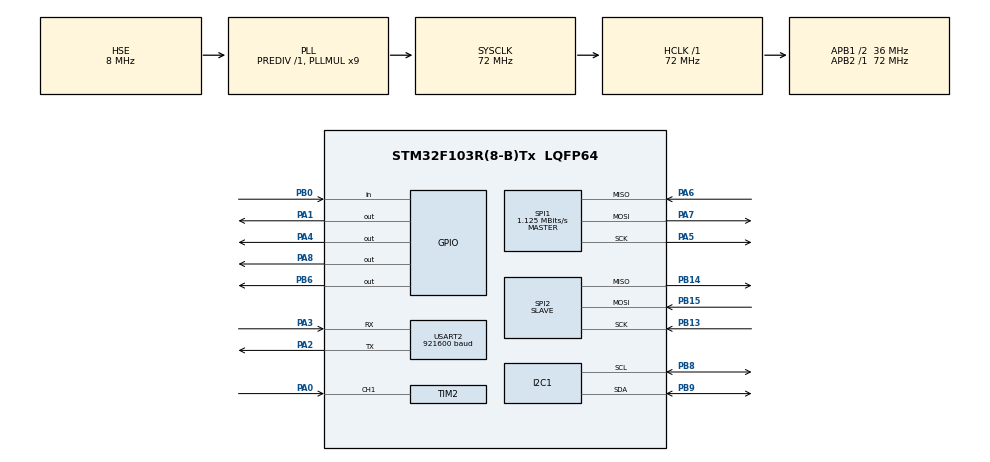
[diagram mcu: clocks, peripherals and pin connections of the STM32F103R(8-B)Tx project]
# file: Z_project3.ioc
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Mcu.Family=STM32F1
Mcu.Name=STM32F103R(8-B)Tx
Mcu.Package=LQFP64
NVIC.I2C1_ER_IRQn=true\:0\:0\:false\:false\:true\:true\:true\:true
NVIC.I2C1_EV_IRQn=true\:0\:0\:false\:false\:true\:true\:true\:true
NVIC.PriorityGroup=NVIC_PRIORITYGROUP_4
NVIC.SPI1_IRQn=true\:0\:0\:false\:false\:true\:true\:true\:true
NVIC.SPI2_IRQn=true\:0\:0\:false\:false\:true\:true\:true\:true
NVIC.TIM2_IRQn=true\:0\:0\:false\:false\:true\:true\:true\:true
NVIC.USART2_IRQn=true\:0\:0\:false\:false\:true\:true\:true\:true
PA0-WKUP.Signal=S_TIM2_CH1_ETR
PA1.Signal=GPIO_Output
PA13.Mode=Serial_Wire
PA13.Signal=SYS_JTMS-SWDIO
PA14.Mode=Serial_Wire
PA14.Signal=SYS_JTCK-SWCLK
PA2.Mode=Asynchronous
PA2.Signal=USART2_TX
PA3.Mode=Asynchronous
PA3.Signal=USART2_RX
PA4.Signal=GPIO_Output
PA5.Mode=Full_Duplex_Master
PA5.Signal=SPI1_SCK
PA6.Mode=Full_Duplex_Master
PA6.Signal=SPI1_MISO
PA7.Mode=Full_Duplex_Master
PA7.Signal=SPI1_MOSI
PA8.GPIO_PuPd=GPIO_NOPULL
PA8.Signal=GPIO_Output
PB0.GPIO_PuPd=GPIO_PULLDOWN
PB0.Signal=GPIO_Input
PB12.Signal=SPI2_NSS
PB13.Mode=Full_Duplex_Slave
PB13.Signal=SPI2_SCK
PB14.Mode=Full_Duplex_Slave
PB14.Signal=SPI2_MISO
PB15.Mode=Full_Duplex_Slave
PB15.Signal=SPI2_MOSI
PB6.Signal=GPIO_Output
PB8.Mode=I2C
PB8.Signal=I2C1_SCL
PB9.Mode=I2C
PB9.Signal=I2C1_SDA
PD0-OSC_IN.Mode=HSE-External-Clock-Source
PD0-OSC_IN.Signal=RCC_OSC_IN
PD1-OSC_OUT.Mode=HSE-External-Clock-Source
PD1-OSC_OUT.Signal=RCC_OSC_OUT
ProjectManager.HeapSize=0x200
ProjectManager.StackSize=0x400
ProjectManager.TargetToolchain=STM32CubeIDE
RCC.AHBFreq_Value=72000000
RCC.APB1CLKDivider=RCC_HCLK_DIV2
RCC.APB1Freq_Value=36000000
RCC.APB1TimFreq_Value=72000000
RCC.APB2Freq_Value=72000000
RCC.APB2TimFreq_Value=72000000
RCC.HCLKFreq_Value=72000000
RCC.PLLMUL=RCC_PLL_MUL9
RCC.PLLSourceVirtual=RCC_PLLSOURCE_HSE
RCC.SYSCLKFreq_VALUE=72000000
RCC.SYSCLKSource=RCC_SYSCLKSOURCE_PLLCLK
RCC.USBFreq_Value=72000000
SH.S_TIM2_CH1_ETR.0=TIM2_CH1,Input_Capture1_from_TI1
SPI1.BaudRatePrescaler=SPI_BAUDRATEPRESCALER_64
SPI1.CalculateBaudRate=1.125 MBits/s
SPI1.Direction=SPI_DIRECTION_2LINES
SPI1.Mode=SPI_MODE_MASTER
SPI1.VirtualType=VM_MASTER
SPI2.Direction=SPI_DIRECTION_2LINES
SPI2.Mode=SPI_MODE_SLAVE
SPI2.VirtualType=VM_SLAVE
TIM2.Channel-Input_Capture1_from_TI1=TIM_CHANNEL_1
TIM2.Prescaler=8-1
USART2.BaudRate=921600
USART2.VirtualMode=VM_ASYNC
VP_TIM2_VS_ClockSourceINT.Mode=Internal
board=custom

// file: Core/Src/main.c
/* USER CODE BEGIN Header */
/**
  ******************************************************************************
  * @file           : main.c
  * @brief          : Main program body
  ******************************************************************************
  * @attention
  *
  * Copyright (c) 2025 STMicroelectronics.
  * All rights reserved.
  *
  * This software is licensed under terms that can be found in the LICENSE file
  * in the root directory of this software component.
  * If no LICENSE file comes with this software, it is provided AS-IS.
  *
  ******************************************************************************
  */
/* USER CODE END Header */
#include "main.h"

/* USER CODE BEGIN Includes */
#include <string.h>   // strlen 사용용
#include <stdio.h>
#include <stdbool.h>
/* USER CODE END Includes */

/* USER CODE BEGIN PTD */
typedef struct {
    uint16_t reg;
    uint8_t  val;
} sensor_reg_t;

/* USER CODE END PTD */

/* USER CODE BEGIN PD */

// 초음파
#define SOUND_SPEED_CM_PER_US  0.0343f   // 343m/s ≈ 0.0343 cm/us
#define DIST_LED_TH_CM   30.0f

// ------------------ Zynq handshake pins ------------------
#define ZYNQ_ALARM_GPIO_PORT   GPIOA
#define ZYNQ_ALARM_PIN         GPIO_PIN_4   // alarm - PA4 (STM -> Zynq)

#define ZYNQ_BUSY_GPIO_PORT    GPIOB
#define ZYNQ_BUSY_PIN          GPIO_PIN_0   // busy  - PB0 (Zynq -> STM)

/* USER CODE END PD */

I2C_HandleTypeDef hi2c1;

SPI_HandleTypeDef hspi1;
SPI_HandleTypeDef hspi2;

TIM_HandleTypeDef htim2;

UART_HandleTypeDef huart2;

/* USER CODE BEGIN PV */
// ===== HC-SR04 측정 변수 =====
static volatile uint32_t ic_rise = 0;
static volatile uint32_t ic_fall = 0;
static volatile uint8_t  capture_state = 0; // 0: rising 대기, 1: falling 대기
static volatile uint32_t echo_us = 0;
static volatile uint8_t  echo_done = 0;

static volatile float distance_cm = 0.0f;

/* USER CODE END PV */

void SystemClock_Config(void);
static void MX_GPIO_Init(void);
static void MX_I2C1_Init(void);
static void MX_SPI1_Init(void);
static void MX_USART2_UART_Init(void);
static void MX_TIM2_Init(void);
static void MX_SPI2_Init(void);
/* USER CODE BEGIN PFP */
// 아두캠
static void Check_VSYNC_Signal(void);
static void I2C1_ScanBus(void);
static void Cam_Read_OV5642_ID(void);
static void Arduchip_Test(void);
static void Camera_Init_640x480_RGB565(void);
void ProcessUartCommand(void);
static void uart_print(const char *s);

// 초음파
static void DWT_Delay_Init(void);
static void delay_us(uint32_t us);
static void HCSR04_Trigger(void);
static float HCSR04_Read_cm(uint32_t timeout_ms);
/* USER CODE END PFP */

/* USER CODE BEGIN 0 */

// ArduChip 레지스터 (수정 금지)
#define ARDUCHIP_TEST1       0x00
#define ARDUCHIP_FIFO        0x04
#define ARDUCHIP_TRIG        0x41
#define FIFO_CLEAR_MASK      0x01
#define FIFO_START_MASK      0x02
#define FIFO_SIZE1           0x42
#define FIFO_SIZE2           0x43
#define FIFO_SIZE3           0x44
#define CAP_DONE_MASK        0x08
#define BURST_FIFO_READ      0x3C

#define OV5642_I2C_ADDR      (0x78)
#define CAM_CS_GPIO_Port     GPIOB
#define CAM_CS_Pin           GPIO_PIN_6
#define CAM_CS_LOW()         HAL_GPIO_WritePin(CAM_CS_GPIO_Port, CAM_CS_Pin, GPIO_PIN_RESET)
#define CAM_CS_HIGH()        HAL_GPIO_WritePin(CAM_CS_GPIO_Port, CAM_CS_Pin, GPIO_PIN_SET)

// === 통신 프로토콜 정의 ===
// (우선 확실하게 나오는 320x240으로 테스트 후, 성공하면 640으로 늘립시다)
#define FRAME_WIDTH       320u
#define FRAME_HEIGHT      240u
#define BYTES_PER_PIXEL   2u
#define FRAME_SIZE_BYTES  (FRAME_WIDTH * FRAME_HEIGHT * BYTES_PER_PIXEL)
#define FRAME_MAGIC       0x1234ABCDu
#define UART_CMD_CAPTURE  'C'

// PC 헤더
typedef struct __attribute__((packed)) {
    uint32_t magic;
    uint16_t width;
    uint16_t height;
    uint8_t  format;
    uint8_t  reserved[3];
} FrameHeader;

// 함수 선언
static void uart_print(const char *s);
static uint8_t SPI1_TxRx(uint8_t data);
static void Arduchip_WriteReg(uint8_t addr, uint8_t value);
static uint8_t Arduchip_ReadReg(uint8_t addr);
static HAL_StatusTypeDef OV5642_LoadRegTable(const sensor_reg_t *table);

// ★★★ [핵심] OV5642 초기화 레지스터 (QVGA Preview - 검증된 값) ★★★
// 이 설정은 아두캠 라이브러리에서 가져온 "가장 확실한" 설정입니다.
const sensor_reg_t OV5642_INIT_TABLE[] = {
    {0x3103,0x93}, {0x3008,0x82}, {0x3017,0x7f}, {0x3018,0xfc}, {0x3810,0xc2}, {0x3615,0xf0},
    {0x3000,0x00}, {0x3001,0x00}, {0x3002,0x5c}, {0x3003,0x00}, {0x3004,0xff}, {0x3005,0xff},
    {0x3006,0x43}, {0x3007,0x37}, {0x3011,0x08}, {0x3010,0x10}, {0x460c,0x22}, {0x3815,0x04},
    {0x370c,0xa0}, {0x3602,0xfc}, {0x3612,0xff}, {0x3634,0xc0}, {0x3613,0x00}, {0x3605,0x7c},
    {0x3621,0x09}, {0x3622,0x60}, {0x3604,0x40}, {0x3603,0xa7}, {0x3603,0x27}, {0x4000,0x21},
    {0x401d,0x22}, {0x3600,0x54}, {0x3605,0x04}, {0x3606,0x3f}, {0x3c01,0x80}, {0x5000,0x4f},
    {0x5020,0x04}, {0x5181,0x79}, {0x5182,0x00}, {0x5185,0x22}, {0x5197,0x01}, {0x5001,0xff},
    {0x5500,0x0a}, {0x5504,0x00}, {0x5505,0x7f}, {0x5080,0x08}, {0x300e,0x18}, {0x4610,0x00},
    {0x471d,0x05}, {0x4708,0x06}, {0x3808,0x02}, {0x3809,0x80}, {0x380a,0x01}, {0x380b,0xe0},
    {0x380e,0x07}, {0x380f,0xd0}, {0x501f,0x00}, {0x5000,0x4f}, {0x4300,0x30}, {0x3503,0x07},
    {0x3501,0x73}, {0x3502,0x80}, {0x350b,0x00}, {0x3503,0x07}, {0x3824,0x11}, {0x3501,0x1e},
    {0x3502,0x80}, {0x350b,0x7f}, {0x380c,0x0c}, {0x380d,0x80}, {0x380e,0x03}, {0x380f,0xe8},
    {0x3a0d,0x04}, {0x3a0e,0x03}, {0x3818,0xc1}, {0x3705,0xdb}, {0x370a,0x81}, {0x3801,0x80},
    {0x3621,0x87}, {0x3801,0x50}, {0x3803,0x08}, {0x3827,0x08}, {0x3810,0x40}, {0x3804,0x05},
    {0x3805,0x00}, {0x5682,0x05}, {0x5683,0x00}, {0x3806,0x03}, {0x3807,0xc0}, {0x5686,0x03},
    {0x5687,0xbc}, {0x3a00,0x78}, {0x3a1a,0x05}, {0x3a13,0x30}, {0x3a18,0x00}, {0x3a19,0x7c},
    {0x3a08,0x12}, {0x3a09,0xc0}, {0x3a0a,0x0f}, {0x3a0b,0xa0}, {0x350c,0x07}, {0x350d,0xd0},
    {0x3500,0x00}, {0x3501,0x00}, {0x3502,0x00}, {0x350a,0x00}, {0x350b,0x00}, {0x3503,0x00},
    {0x528a,0x02}, {0x528b,0x04}, {0x528c,0x08}, {0x528d,0x08}, {0x528e,0x08}, {0x528f,0x10},
    {0x5290,0x10}, {0x5292,0x00}, {0x5293,0x02}, {0x5294,0x00}, {0x5295,0x02}, {0x5296,0x00},
    {0x5297,0x02}, {0x5298,0x00}, {0x5299,0x02}, {0x529a,0x00}, {0x529b,0x02}, {0x529c,0x00},
    {0x529d,0x02}, {0x529e,0x00}, {0x529f,0x02}, {0x3030,0x0b}, {0x3a02,0x00}, {0x3a03,0x7d},
    {0x3a04,0x00}, {0x3a14,0x00}, {0x3a15,0x7d}, {0x3a16,0x00}, {0x3a00,0x78}, {0x3a08,0x09},
    {0x3a09,0x60}, {0x3a0a,0x07}, {0x3a0b,0xd0}, {0x3a0d,0x08}, {0x3a0e,0x06}, {0x5193,0x70},
    {0x589b,0x04}, {0x589a,0xc5}, {0x401e,0x20}, {0x4001,0x42}, {0x401c,0x04}, {0x528a,0x01},
    {0x528b,0x04}, {0x528c,0x08}, {0x528d,0x10}, {0x528e,0x20}, {0x528f,0x28}, {0x5290,0x30},
    {0x5292,0x00}, {0x5293,0x01}, {0x5294,0x00}, {0x5295,0x04}, {0x5296,0x00}, {0x5297,0x08},
    {0x5298,0x00}, {0x5299,0x10}, {0x529a,0x00}, {0x529b,0x20}, {0x529c,0x00}, {0x529d,0x28},
    {0x529e,0x00}, {0x529f,0x30}, {0x5282,0x00}, {0x5300,0x00}, {0x5301,0x20}, {0x5302,0x00},
    {0x5303,0x7c}, {0x530c,0x00}, {0x530d,0x0c}, {0x530e,0x20}, {0x530f,0x80}, {0x5310,0x20},
    {0x5311,0x80}, {0x5308,0x20}, {0x5309,0x40}, {0x5304,0x00}, {0x5305,0x30}, {0x5306,0x00},
    {0x5307,0x80}, {0x5314,0x08}, {0x5315,0x20}, {0x5319,0x30}, {0x5316,0x10}, {0x5317,0x00},
    {0x5318,0x02}, {0x5402,0x3f}, {0x5403,0x00}, {0x3406,0x00}, {0x5180,0xff}, {0x5181,0x52},
    {0x5182,0x11}, {0x5183,0x14}, {0x5184,0x25}, {0x5185,0x24}, {0x5186,0x06}, {0x5187,0x08},
    {0x5188,0x08}, {0x5189,0x7c}, {0x518a,0x60}, {0x518b,0xb2}, {0x518c,0xb2}, {0x518d,0x44},
    {0x518e,0x3d}, {0x518f,0x58}, {0x5190,0x46}, {0x5191,0xf8}, {0x5192,0x04}, {0x5193,0x70},
    {0x5194,0xf0}, {0x5195,0xf0}, {0x5196,0x03}, {0x5197,0x01}, {0x5198,0x04}, {0x5199,0x12},
    {0x519a,0x04}, {0x519b,0x00}, {0x519c,0x06}, {0x519d,0x82}, {0x519e,0x00}, {0x5025,0x80},
    {0x5583,0x40}, {0x5584,0x40}, {0x5580,0x02}, {0x5000,0xcf}, {0x3710,0x10}, {0x3632,0x51},
    {0x3702,0x10}, {0x3703,0xb2}, {0x3704,0x18}, {0x370b,0x40}, {0x370d,0x03}, {0x3631,0x01},
    {0x3632,0x52}, {0x3606,0x24}, {0x3620,0x96}, {0x5785,0x07}, {0x3a13,0x30}, {0x3600,0x52},
    {0x3604,0x48}, {0x3606,0x1b}, {0x370d,0x0b}, {0x370f,0xc0}, {0x3709,0x01}, {0x3823,0x00},
    {0x5007,0x00}, {0x5009,0x00}, {0x5011,0x00}, {0x5013,0x00}, {0x519e,0x00}, {0x5086,0x00},
    {0x5087,0x00}, {0x5088,0x00}, {0x5089,0x00}, {0x302b,0x00}, {0x3808,0x01}, {0x3809,0x40},
    {0x380a,0x00}, {0x380b,0xf0}, {0x3a00,0x78}, {0x5001,0xFF}, {0x5583,0x50}, {0x5584,0x50},
    {0x5580,0x02}, {0x3c01,0x80}, {0x3c00,0x04}, {0xFFFF, 0xFF}
};

// ================= DWT us delay =================
static void DWT_Delay_Init(void)
{
    // Cortex-M3 (STM32F1)는 DWT 사용 가능
    CoreDebug->DEMCR |= CoreDebug_DEMCR_TRCENA_Msk; // Trace enable
    DWT->CYCCNT = 0;
    DWT->CTRL |= DWT_CTRL_CYCCNTENA_Msk;            // Cycle counter enable
}

static void delay_us(uint32_t us)
{
    uint32_t cycles = (HAL_RCC_GetHCLKFreq() / 1000000U) * us;
    uint32_t start = DWT->CYCCNT;
    while ((DWT->CYCCNT - start) < cycles) {}
}

// ================= HC-SR04 Trigger =================
static void HCSR04_Trigger(void)
{
    // PA1 = TRIG
    HAL_GPIO_WritePin(GPIOA, GPIO_PIN_1, GPIO_PIN_RESET);
    delay_us(2);

    HAL_GPIO_WritePin(GPIOA, GPIO_PIN_1, GPIO_PIN_SET);
    delay_us(10);  // 10us pulse
    HAL_GPIO_WritePin(GPIOA, GPIO_PIN_1, GPIO_PIN_RESET);
}

// ================= HC-SR04 Read distance (cm) =================
// timeout_ms 안에 echo_done 안되면 -1 반환
static float HCSR04_Read_cm(uint32_t timeout_ms)
{
    echo_done = 0;
    capture_state = 0;
    echo_us = 0;

    // Rising edge부터 캡처하도록 세팅
    __HAL_TIM_SET_COUNTER(&htim2, 0);
    __HAL_TIM_SET_CAPTUREPOLARITY(&htim2, TIM_CHANNEL_1, TIM_INPUTCHANNELPOLARITY_RISING);

    // 인터럽트 캡처 시작
    HAL_TIM_IC_Start_IT(&htim2, TIM_CHANNEL_1);

    // Trigger
    HCSR04_Trigger();

    // 대기 (blocking)
    uint32_t t0 = HAL_GetTick();
    while (!echo_done)
    {
        if ((HAL_GetTick() - t0) > timeout_ms)
        {
            HAL_TIM_IC_Stop_IT(&htim2, TIM_CHANNEL_1);
            return -1.0f; // timeout
        }
    }

    // echo_us -> distance(cm)
    float cm = (echo_us * SOUND_SPEED_CM_PER_US) / 2.0f;
    return cm;
}

// ================= TIM Input Capture Callback =================
void HAL_TIM_IC_CaptureCallback(TIM_HandleTypeDef *htim)
{
    if (htim->Instance == TIM2 && htim->Channel == HAL_TIM_ACTIVE_CHANNEL_1)
    {
        if (capture_state == 0)
        {
            // Rising edge time
            ic_rise = HAL_TIM_ReadCapturedValue(htim, TIM_CHANNEL_1);
            capture_state = 1;

            // 다음은 Falling edge 캡처
            __HAL_TIM_SET_CAPTUREPOLARITY(htim, TIM_CHANNEL_1, TIM_INPUTCHANNELPOLARITY_FALLING);
        }
        else
        {
            // Falling edge time
            ic_fall = HAL_TIM_ReadCapturedValue(htim, TIM_CHANNEL_1);

            // 1MHz timer 기준 -> tick == us
            if (ic_fall >= ic_rise) echo_us = (ic_fall - ic_rise);
            else                    echo_us = ((htim->Init.Period + 1U) - ic_rise) + ic_fall;

            // 끝
            echo_done = 1;
            capture_state = 0;

            // 다시 rising으로 복귀
            __HAL_TIM_SET_CAPTUREPOLARITY(htim, TIM_CHANNEL_1, TIM_INPUTCHANNELPOLARITY_RISING);

            // 캡처 종료(필요시 계속 켜도 되지만, 여기서는 측정마다 켰다 꺼서 안정적)
            HAL_TIM_IC_Stop_IT(htim, TIM_CHANNEL_1);
        }
    }
}

// ================= SPI2 -> ZYNQ Streaming =================
#define SPI2_CMD_START   0xC1  // Zynq가 MOSI로 이 바이트 보내면 STM이 캡처+스트림 준비
#define SPI2_STATUS_OK   0x5A
#define SPI2_STATUS_BUSY 0xBC

typedef enum {
  S2_IDLE = 0,
  S2_SEND_STATUS,
  S2_SEND_HDR,
  S2_SEND_LEN,
  S2_SEND_IMG,
  S2_DONE
} s2_state_t;

static volatile s2_state_t s2_state = S2_IDLE;

// SPI2 1바이트 송수신용
static uint8_t s2_tx = 0xFF;
static uint8_t s2_rx = 0x00;

// 이미지 스트리밍용
static uint32_t s2_img_len = 0;
static uint32_t s2_remaining = 0;

// 헤더/길이 바이트 스트림
static FrameHeader s2_hdr;
static uint8_t s2_len_bytes[4];
static uint32_t s2_hdr_idx = 0;
static uint32_t s2_len_idx = 0;

// FIFO에서 2KB씩 읽어와서 SPI2로 내보내는 버퍼
static uint8_t s2_chunk[2048];
static uint32_t s2_chunk_idx = 0;
static uint32_t s2_chunk_valid = 0;

static void SPI2_SlaveKick_1byte(void);
static void SPI2_PrepareNewFrame(void);
static void SPI2_FillNextChunk(void);

// SPI2 “1바이트 트리거” 시작
static void SPI2_SlaveKick_1byte(void)
{
  // 1바이트씩 계속 IT로 돌리면(느리지만) 구현이 제일 확실함
  HAL_SPI_TransmitReceive_IT(&hspi2, &s2_tx, &s2_rx, 1);
}

// Arducam FIFO에서 다음 chunk 채우기 (BURST_FIFO_READ 상태 유지 필요)
static void SPI2_FillNextChunk(void)
{
  if (s2_remaining == 0) {
    s2_chunk_valid = 0;
    return;
  }

  uint32_t to_read = (s2_remaining > sizeof(s2_chunk)) ? sizeof(s2_chunk) : s2_remaining;
  for (uint32_t i=0; i<to_read; i++) {
    s2_chunk[i] = SPI1_TxRx(0x00); // SPI1로 FIFO 1바이트씩 읽기
  }
  s2_chunk_valid = to_read;
  s2_chunk_idx = 0;
}

// 새 프레임 캡처 + FIFO burst-read 준비 + 헤더/길이 준비
static void SPI2_PrepareNewFrame(void)
{
  // 1) 캡처 시작
  Arduchip_WriteReg(ARDUCHIP_FIFO, FIFO_CLEAR_MASK);
  Arduchip_WriteReg(ARDUCHIP_FIFO, FIFO_START_MASK);

  uint32_t t0 = HAL_GetTick();
  while (!(Arduchip_ReadReg(ARDUCHIP_TRIG) & CAP_DONE_MASK)) {
    if (HAL_GetTick() - t0 > 2000) {
      // 실패 시 IDLE로 복귀
      s2_state = S2_IDLE;
      return;
    }
  }

  // 2) 길이 읽기
  uint32_t len1 = Arduchip_ReadReg(FIFO_SIZE1);
  uint32_t len2 = Arduchip_ReadReg(FIFO_SIZE2);
  uint32_t len3 = Arduchip_ReadReg(FIFO_SIZE3) & 0x7f;
  uint32_t length = ((len3 << 16) | (len2 << 8) | len1) & 0x07fffff;
  if (length == 0) {
    s2_state = S2_IDLE;
    return;
  }

  s2_img_len = length;
  s2_remaining = length;

  // 3) 헤더 준비(PC UART용 헤더와 동일 포맷 사용)
  s2_hdr.magic  = FRAME_MAGIC;
  s2_hdr.width  = FRAME_WIDTH;
  s2_hdr.height = FRAME_HEIGHT;
  s2_hdr.format = 2; // RGB565
  s2_hdr.reserved[0]=0; s2_hdr.reserved[1]=0; s2_hdr.reserved[2]=0;
  s2_hdr_idx = 0;

  // 4) 길이 4바이트(LSB first)
  s2_len_bytes[0] = (uint8_t)(s2_img_len & 0xFF);
  s2_len_bytes[1] = (uint8_t)((s2_img_len >> 8) & 0xFF);
  s2_len_bytes[2] = (uint8_t)((s2_img_len >> 16) & 0xFF);
  s2_len_bytes[3] = (uint8_t)((s2_img_len >> 24) & 0xFF);
  s2_len_idx = 0;

  // 5) FIFO burst-read 모드로 진입 (이 상태에서 SPI1_TxRx(0x00)로 데이터가 쭉 나옴)
  CAM_CS_LOW();
  SPI1_TxRx(BURST_FIFO_READ);

  // 6) 첫 chunk 채움
  SPI2_FillNextChunk();

  // 7) 상태 전환: STATUS -> HDR -> LEN -> IMG
  s2_state = S2_SEND_STATUS;
}

static inline bool Zynq_IsBusy(void)
{
    return (HAL_GPIO_ReadPin(ZYNQ_BUSY_GPIO_PORT, ZYNQ_BUSY_PIN) == GPIO_PIN_SET);
}

// 알람을 "펄스"로 보낼지, "레벨"로 보낼지는 Zynq 쪽 인터럽트 방식에 따라 달라짐.
// 보통 인터럽트는 엣지 트리거가 편해서 펄스로 추천.
static inline void Zynq_AlarmHigh(void)
{
    HAL_GPIO_WritePin(ZYNQ_ALARM_GPIO_PORT, ZYNQ_ALARM_PIN, GPIO_PIN_SET);
}

static inline void Zynq_AlarmLow(void)
{
    HAL_GPIO_WritePin(ZYNQ_ALARM_GPIO_PORT, ZYNQ_ALARM_PIN, GPIO_PIN_RESET);
}

// busy=0일 때만 알람 펄스 발생(예: 50us)
// 반환값: true=보냄, false=busy라서 안보냄
bool Zynq_SendAlarmPulse_IfIdle(uint32_t pulse_us)
{
    if (Zynq_IsBusy()) {
        return false;  // 연산중이면 안 보냄
    }

    // 짧게 High 펄스
    Zynq_AlarmHigh();

    // F103에서 microsecond delay는 DWT 쓰거나 타이머 쓰는 게 정석인데,
    // 간단히는 아래처럼 짧은 루프(대충)도 가능.
    // 정확한 us가 필요하면 TIM 기반 delay로 바꾸자.
    for (volatile uint32_t i = 0; i < (pulse_us * 10); i++) {
        __NOP();
    }

    Zynq_AlarmLow();
    return true;
}
/* USER CODE END 0 */

int main(void)
{

  /* MCU Configuration--------------------------------------------------------*/

  /* Reset of all peripherals, Initializes the Flash interface and the Systick. */
  HAL_Init();

  /* Configure the system clock */
  SystemClock_Config();

  /* Initialize all configured peripherals */
  MX_GPIO_Init();
  MX_I2C1_Init();
  MX_SPI1_Init();
  MX_USART2_UART_Init();
  MX_TIM2_Init();
  MX_SPI2_Init();
  /* USER CODE BEGIN 2 */

  //============== 카메라 =====================
  CAM_CS_HIGH();
  HAL_UART_Transmit(&huart2, (uint8_t*)"UART ALIVE CHECK\r\n", 18, 100);
  // 1. 센서 ID 확인 및 테스트
  I2C1_ScanBus();
  Cam_Read_OV5642_ID();
  Arduchip_Test();

  // 2. 카메라 설정 (기초설정 + 640x480 + RGB565)
  // (USER CODE BEGIN 4에 정의된 함수 호출)
  Camera_Init_640x480_RGB565();
  Check_VSYNC_Signal();
  uart_print("Ready to capture. Waiting for 'C' from PC...\r\n");

  // 초음파
  DWT_Delay_Init();

  /* USER CODE END 2 */

  /* Infinite loop */
  /* USER CODE BEGIN WHILE */
  while (1)
  {

    float cm = HCSR04_Read_cm(60);

    if (cm < 100)
    {
       HAL_GPIO_WritePin(GPIOA, GPIO_PIN_8, GPIO_PIN_SET);   // ON
       Zynq_SendAlarmPulse_IfIdle(50); // 50us
    }
    else
    {
       HAL_GPIO_WritePin(GPIOA, GPIO_PIN_8, GPIO_PIN_RESET); // OFF
    }

    ProcessUartCommand();
    HAL_Delay(200);

    /* USER CODE END WHILE */

    /* USER CODE BEGIN 3 */
  }
  // PC에서 명령이 오면 처리 (버튼 없이 자동)

  /* USER CODE END 3 */
}

void SystemClock_Config(void)
{
  RCC_OscInitTypeDef RCC_OscInitStruct = {0};
  RCC_ClkInitTypeDef RCC_ClkInitStruct = {0};

  /** Initializes the RCC Oscillators according to the specified parameters
  * in the RCC_OscInitTypeDef structure.
  */
  RCC_OscInitStruct.OscillatorType = RCC_OSCILLATORTYPE_HSE;
  RCC_OscInitStruct.HSEState = RCC_HSE_BYPASS;
  RCC_OscInitStruct.HSEPredivValue = RCC_HSE_PREDIV_DIV1;
  RCC_OscInitStruct.HSIState = RCC_HSI_ON;
  RCC_OscInitStruct.PLL.PLLState = RCC_PLL_ON;
  RCC_OscInitStruct.PLL.PLLSource = RCC_PLLSOURCE_HSE;
  RCC_OscInitStruct.PLL.PLLMUL = RCC_PLL_MUL9;
  if (HAL_RCC_OscConfig(&RCC_OscInitStruct) != HAL_OK)
  {
    Error_Handler();
  }

  /** Initializes the CPU, AHB and APB buses clocks
  */
  RCC_ClkInitStruct.ClockType = RCC_CLOCKTYPE_HCLK|RCC_CLOCKTYPE_SYSCLK
                              |RCC_CLOCKTYPE_PCLK1|RCC_CLOCKTYPE_PCLK2;
  RCC_ClkInitStruct.SYSCLKSource = RCC_SYSCLKSOURCE_PLLCLK;
  RCC_ClkInitStruct.AHBCLKDivider = RCC_SYSCLK_DIV1;
  RCC_ClkInitStruct.APB1CLKDivider = RCC_HCLK_DIV2;
  RCC_ClkInitStruct.APB2CLKDivider = RCC_HCLK_DIV1;

  if (HAL_RCC_ClockConfig(&RCC_ClkInitStruct, FLASH_LATENCY_2) != HAL_OK)
  {
    Error_Handler();
  }
}

static void MX_I2C1_Init(void)
{

  hi2c1.Instance = I2C1;
  hi2c1.Init.ClockSpeed = 100000;
  hi2c1.Init.DutyCycle = I2C_DUTYCYCLE_2;
  hi2c1.Init.OwnAddress1 = 0;
  hi2c1.Init.AddressingMode = I2C_ADDRESSINGMODE_7BIT;
  hi2c1.Init.DualAddressMode = I2C_DUALADDRESS_DISABLE;
  hi2c1.Init.OwnAddress2 = 0;
  hi2c1.Init.GeneralCallMode = I2C_GENERALCALL_DISABLE;
  hi2c1.Init.NoStretchMode = I2C_NOSTRETCH_DISABLE;
  if (HAL_I2C_Init(&hi2c1) != HAL_OK)
  {
    Error_Handler();
  }

}

static void MX_SPI1_Init(void)
{

  /* SPI1 parameter configuration*/
  hspi1.Instance = SPI1;
  hspi1.Init.Mode = SPI_MODE_MASTER;
  hspi1.Init.Direction = SPI_DIRECTION_2LINES;
  hspi1.Init.DataSize = SPI_DATASIZE_8BIT;
  hspi1.Init.CLKPolarity = SPI_POLARITY_LOW;
  hspi1.Init.CLKPhase = SPI_PHASE_1EDGE;
  hspi1.Init.NSS = SPI_NSS_SOFT;
  hspi1.Init.BaudRatePrescaler = SPI_BAUDRATEPRESCALER_64;
  hspi1.Init.FirstBit = SPI_FIRSTBIT_MSB;
  hspi1.Init.TIMode = SPI_TIMODE_DISABLE;
  hspi1.Init.CRCCalculation = SPI_CRCCALCULATION_DISABLE;
  hspi1.Init.CRCPolynomial = 10;
  if (HAL_SPI_Init(&hspi1) != HAL_OK)
  {
    Error_Handler();
  }

}

static void MX_SPI2_Init(void)
{

  /* SPI2 parameter configuration*/
  hspi2.Instance = SPI2;
  hspi2.Init.Mode = SPI_MODE_SLAVE;
  hspi2.Init.Direction = SPI_DIRECTION_2LINES;
  hspi2.Init.DataSize = SPI_DATASIZE_8BIT;
  hspi2.Init.CLKPolarity = SPI_POLARITY_LOW;
  hspi2.Init.CLKPhase = SPI_PHASE_1EDGE;
  hspi2.Init.NSS = SPI_NSS_HARD_INPUT;
  hspi2.Init.FirstBit = SPI_FIRSTBIT_MSB;
  hspi2.Init.TIMode = SPI_TIMODE_DISABLE;
  hspi2.Init.CRCCalculation = SPI_CRCCALCULATION_DISABLE;
  hspi2.Init.CRCPolynomial = 10;
  if (HAL_SPI_Init(&hspi2) != HAL_OK)
  {
    Error_Handler();
  }

}

static void MX_TIM2_Init(void)
{

  TIM_ClockConfigTypeDef sClockSourceConfig = {0};
  TIM_MasterConfigTypeDef sMasterConfig = {0};
  TIM_IC_InitTypeDef sConfigIC = {0};

  htim2.Instance = TIM2;
  htim2.Init.Prescaler = 8-1;
  htim2.Init.CounterMode = TIM_COUNTERMODE_UP;
  htim2.Init.Period = 65535;
  htim2.Init.ClockDivision = TIM_CLOCKDIVISION_DIV1;
  htim2.Init.AutoReloadPreload = TIM_AUTORELOAD_PRELOAD_DISABLE;
  if (HAL_TIM_Base_Init(&htim2) != HAL_OK)
  {
    Error_Handler();
  }
  sClockSourceConfig.ClockSource = TIM_CLOCKSOURCE_INTERNAL;
  if (HAL_TIM_ConfigClockSource(&htim2, &sClockSourceConfig) != HAL_OK)
  {
    Error_Handler();
  }
  if (HAL_TIM_IC_Init(&htim2) != HAL_OK)
  {
    Error_Handler();
  }
  sMasterConfig.MasterOutputTrigger = TIM_TRGO_RESET;
  sMasterConfig.MasterSlaveMode = TIM_MASTERSLAVEMODE_DISABLE;
  if (HAL_TIMEx_MasterConfigSynchronization(&htim2, &sMasterConfig) != HAL_OK)
  {
    Error_Handler();
  }
  sConfigIC.ICPolarity = TIM_INPUTCHANNELPOLARITY_RISING;
  sConfigIC.ICSelection = TIM_ICSELECTION_DIRECTTI;
  sConfigIC.ICPrescaler = TIM_ICPSC_DIV1;
  sConfigIC.ICFilter = 0;
  if (HAL_TIM_IC_ConfigChannel(&htim2, &sConfigIC, TIM_CHANNEL_1) != HAL_OK)
  {
    Error_Handler();
  }

}

static void MX_USART2_UART_Init(void)
{

  huart2.Instance = USART2;
  huart2.Init.BaudRate = 921600;
  huart2.Init.WordLength = UART_WORDLENGTH_8B;
  huart2.Init.StopBits = UART_STOPBITS_1;
  huart2.Init.Parity = UART_PARITY_NONE;
  huart2.Init.Mode = UART_MODE_TX_RX;
  huart2.Init.HwFlowCtl = UART_HWCONTROL_NONE;
  huart2.Init.OverSampling = UART_OVERSAMPLING_16;
  if (HAL_UART_Init(&huart2) != HAL_OK)
  {
    Error_Handler();
  }

}

static void MX_GPIO_Init(void)
{
  GPIO_InitTypeDef GPIO_InitStruct = {0};

  /* GPIO Ports Clock Enable */
  __HAL_RCC_GPIOD_CLK_ENABLE();
  __HAL_RCC_GPIOA_CLK_ENABLE();
  __HAL_RCC_GPIOB_CLK_ENABLE();

  /*Configure GPIO pin Output Level */
  HAL_GPIO_WritePin(GPIOA, GPIO_PIN_1|GPIO_PIN_4|GPIO_PIN_8, GPIO_PIN_RESET);

  /*Configure GPIO pin Output Level */
  HAL_GPIO_WritePin(GPIOB, GPIO_PIN_6, GPIO_PIN_RESET);

  /*Configure GPIO pins : PA1 PA4 PA8 */
  GPIO_InitStruct.Pin = GPIO_PIN_1|GPIO_PIN_4|GPIO_PIN_8;
  GPIO_InitStruct.Mode = GPIO_MODE_OUTPUT_PP;
  GPIO_InitStruct.Pull = GPIO_NOPULL;
  GPIO_InitStruct.Speed = GPIO_SPEED_FREQ_LOW;
  HAL_GPIO_Init(GPIOA, &GPIO_InitStruct);

  /*Configure GPIO pin : PB0 */
  GPIO_InitStruct.Pin = GPIO_PIN_0;
  GPIO_InitStruct.Mode = GPIO_MODE_INPUT;
  GPIO_InitStruct.Pull = GPIO_PULLDOWN;
  HAL_GPIO_Init(GPIOB, &GPIO_InitStruct);

  /*Configure GPIO pin : PB6 */
  GPIO_InitStruct.Pin = GPIO_PIN_6;
  GPIO_InitStruct.Mode = GPIO_MODE_OUTPUT_PP;
  GPIO_InitStruct.Pull = GPIO_NOPULL;
  GPIO_InitStruct.Speed = GPIO_SPEED_FREQ_LOW;
  HAL_GPIO_Init(GPIOB, &GPIO_InitStruct);

}

/* USER CODE BEGIN 4 */
// ★ VSYNC 신호 진단 함수 (심장 박동 체크)
static void Check_VSYNC_Signal(void)
{
    uart_print("\r\n[DIAGNOSTIC] Checking VSYNC Signal (1 sec)...\r\n");

    uint32_t high_cnt = 0;
    uint32_t low_cnt = 0;
    uint32_t start = HAL_GetTick();

    // 1초 동안 VSYNC 상태를 1000번 정도 읽어봅니다.
    while (HAL_GetTick() - start < 1000)
    {
        // ARDUCHIP_TRIG(0x41) 레지스터의 0번 비트가 VSYNC 신호입니다.
        uint8_t status = Arduchip_ReadReg(ARDUCHIP_TRIG);
        if (status & 0x01) high_cnt++;
        else low_cnt++;

        // 너무 빠르지 않게 약간 딜레이
        for(volatile int i=0; i<1000; i++);
    }

    char buf[64];
    snprintf(buf, sizeof(buf), " -> High: %lu, Low: %lu\r\n", high_cnt, low_cnt);
    uart_print(buf);

    if (high_cnt > 0 && low_cnt > 0) {
        uart_print(" -> [RESULT] VSYNC Toggling! SENSOR IS ALIVE.\r\n");
    } else {
        uart_print(" -> [RESULT] VSYNC Dead. Sensor is NOT outputting frames.\r\n");
    }
    uart_print("------------------------------------------\r\n");
}

static void uart_print(const char *s)
{
    HAL_UART_Transmit(&huart2, (uint8_t*)s, strlen(s), HAL_MAX_DELAY);
}

// I2C 레지스터 테이블 로드 함수
static HAL_StatusTypeDef OV5642_LoadRegTable(const sensor_reg_t *table)
{
    HAL_StatusTypeDef ret;
    int i = 0;

    while (1)
    {
        uint16_t reg = table[i].reg;
        uint8_t  val = table[i].val;

        // 종료 마커: {0xFFFF, 0xFF}
        if (reg == 0xFFFF && val == 0xFF)
            break;

        ret = HAL_I2C_Mem_Write(&hi2c1,
                                OV5642_I2C_ADDR,
                                reg,
                                I2C_MEMADD_SIZE_16BIT,
                                &val,
                                1,
                                100);
        if (ret != HAL_OK)
        {
            char buf[96];
            snprintf(buf, sizeof(buf),
                     "OV5642_LoadRegTable: write 0x%04X=0x%02X failed, err=0x%08lX\r\n",
                     reg, val, HAL_I2C_GetError(&hi2c1));
            uart_print(buf);
            return ret;
        }
        // 안정성을 위해 센서 설정 시 약간의 딜레이
        HAL_Delay(1);
        i++;
    }
    return HAL_OK;
}

// I2C 레지스터 읽기
static HAL_StatusTypeDef OV5642_ReadReg(uint16_t reg, uint8_t *value)
{
  return HAL_I2C_Mem_Read(
      &hi2c1,
      OV5642_I2C_ADDR,
      reg,
      I2C_MEMADD_SIZE_16BIT,
      value,
      1,
      100
  );
}

// 센서 ID 확인
static void Cam_Read_OV5642_ID(void)
{
    uint8_t id_high = 0, id_low = 0;

    // I2C ACK 테스트
    if (HAL_I2C_IsDeviceReady(&hi2c1, OV5642_I2C_ADDR, 3, 100) != HAL_OK) {
        uart_print("I2C Device NOT Ready!\r\n");
        return;
    }

    OV5642_ReadReg(0x300A, &id_high);
    OV5642_ReadReg(0x300B, &id_low);

    char buf[64];
    snprintf(buf, sizeof(buf), "OV5642 ID = 0x%02X 0x%02X (expect 0x56 0x42)\r\n", id_high, id_low);
    uart_print(buf);
}

// I2C 스캔
static void I2C1_ScanBus(void)
{
    HAL_StatusTypeDef ret;
    char buf[64];
    uart_print("I2C1 scan start\r\n");
    for (uint8_t addr = 1; addr < 127; addr++) {
        ret = HAL_I2C_IsDeviceReady(&hi2c1, addr << 1, 2, 10);
        if (ret == HAL_OK) {
            snprintf(buf, sizeof(buf), "  - Found 0x%02X\r\n", addr << 1);
            uart_print(buf);
        }
    }
    uart_print("I2C1 scan done\r\n");
}

// SPI TxRx
static uint8_t SPI1_TxRx(uint8_t data)
{
    uint8_t rx = 0;
    HAL_SPI_TransmitReceive(&hspi1, &data, &rx, 1, HAL_MAX_DELAY);
    return rx;
}

// ArduChip 레지스터 쓰기 (수정됨: 안정성 강화)
static void Arduchip_WriteReg(uint8_t addr, uint8_t value)
{
    CAM_CS_LOW();
    HAL_Delay(1); // ★ [핵심] 칩이 준비될 시간을 줍니다 (1ms)
    SPI1_TxRx(addr | 0x80);  // 쓰기 명령 전송

    SPI1_TxRx(value);        // 데이터 전송
    CAM_CS_HIGH();

    HAL_Delay(1); // 기존 안정성 딜레이 유지
}
// ArduChip 레지스터 읽기
static uint8_t Arduchip_ReadReg(uint8_t addr)
{
    uint8_t val;
    CAM_CS_LOW();
    HAL_Delay(1); // ★ [핵심] 읽기 전에도 준비 시간 부여
    SPI1_TxRx(addr & 0x7F);
    val = SPI1_TxRx(0x00);
    CAM_CS_HIGH();
    return val;
}

// ArduChip 테스트
/* USER CODE BEGIN 4 내의 Arduchip_Test 함수 교체 */

static void Arduchip_Test(void)
{
    char buf[64];
    uart_print("\r\n================================\r\n");
    uart_print("   SPI DIAGNOSTIC TEST START    \r\n");
    uart_print("================================\r\n");

    // 1. 단순 읽기/쓰기 테스트 (비트 이동 확인용)
    // 0x01, 0x02, 0x04 ... 순서대로 보내봅니다.
    uint8_t test_patterns[] = {0x01, 0x02, 0x04, 0x08, 0x10, 0x20, 0x40, 0x80};

    for (int i = 0; i < 8; i++) {
        uint8_t target = test_patterns[i];

        Arduchip_WriteReg(ARDUCHIP_TEST1, target);
        uint8_t read_back = Arduchip_ReadReg(ARDUCHIP_TEST1);

        snprintf(buf, sizeof(buf), "Write: 0x%02X -> Read: 0x%02X ", target, read_back);
        uart_print(buf);

        if (read_back == target) {
            uart_print("[OK]\r\n");
        } else if (read_back == (target << 1)) {
            uart_print("[FAIL] Left Shift (Try 2EDGE)\r\n");
        } else if (read_back == (target >> 1)) {
            uart_print("[FAIL] Right Shift (Try 1EDGE)\r\n");
        } else if (read_back == 0x00 || read_back == 0xFF) {
            uart_print("[FAIL] Stuck (Check Wiring/Power)\r\n");
        } else {
            uart_print("[FAIL] Unknown Error\r\n");
        }
        HAL_Delay(10);
    }

    uart_print("--------------------------------\r\n");

    // 2. 연속 쓰기 테스트 (명령 씹힘 확인용)
    // 0x55를 쓰고 바로 0xAA를 썼을 때 잘 바뀌는지 봅니다.
    Arduchip_WriteReg(ARDUCHIP_TEST1, 0x55);
    uint8_t val1 = Arduchip_ReadReg(ARDUCHIP_TEST1);

    Arduchip_WriteReg(ARDUCHIP_TEST1, 0xAA);
    uint8_t val2 = Arduchip_ReadReg(ARDUCHIP_TEST1);

    snprintf(buf, sizeof(buf), "0x55->0x%02X, 0xAA->0x%02X ", val1, val2);
    uart_print(buf);

    if (val1 == 0x55 && val2 == 0xAA) {
        uart_print("-> [PERFECT]\r\n");
    } else if (val1 == 0x55 && val2 == 0x55) {
        uart_print("-> [FAIL] Write Ignored (Slow down SPI)\r\n");
    } else {
        uart_print("-> [FAIL] Communication Broken\r\n");
    }

    uart_print("================================\r\n");
}

// === [중요] 초기화 함수 (엔진 시동 + 해상도 + 포맷) ===
static void Camera_Init_640x480_RGB565(void)
{
    uart_print("Init Camera 320x240 RGB565...\r\n");

    // 1. I2C로 센서 소프트웨어 리셋
    uint8_t val = 0x80;
    HAL_I2C_Mem_Write(&hi2c1, OV5642_I2C_ADDR, 0x3008, I2C_MEMADD_SIZE_16BIT, &val, 1, 100);
    HAL_Delay(100);

    // 2. [추가됨] ArduChip(CPLD) 리셋 - 이게 없어서 FIFO가 안 찼던 겁니다!
    Arduchip_WriteReg(0x07, 0x80); // 리셋 시작
    HAL_Delay(100);
    Arduchip_WriteReg(0x07, 0x00); // 리셋 종료
    HAL_Delay(100);

    // 3. [추가됨] VSYNC 레벨 설정 (Active Low/High 맞추기)
    // ARDUCHIP_TIM(0x03) 레지스터의 1번 비트(0x02)를 1로 세팅
    Arduchip_WriteReg(0x03, 0x02);
    HAL_Delay(100);

    // 4. OV5642 센서 설정 로드 (QVGA)
    OV5642_LoadRegTable(OV5642_INIT_TABLE);

    // 5. FIFO 초기화
    Arduchip_WriteReg(ARDUCHIP_FIFO, FIFO_CLEAR_MASK);

    uart_print("Init Done.\r\n");
}

// === 캡처 및 전송 함수 (수정됨) ===
void SendOneFrameOverUart(void)
{
    // 1. 캡처 시작
    Arduchip_WriteReg(ARDUCHIP_FIFO, FIFO_CLEAR_MASK); // FIFO 초기화
    Arduchip_WriteReg(ARDUCHIP_FIFO, FIFO_START_MASK); // 캡처 시작

    // 2. 완료 대기 (텍스트 전송 금지)
    uint32_t t0 = HAL_GetTick();
    while ( !(Arduchip_ReadReg(ARDUCHIP_TRIG) & CAP_DONE_MASK) )
    {
        if (HAL_GetTick() - t0 > 2000) return; // 2초 지나면 포기
    }

    // 3. 길이 확인
    uint32_t len1 = Arduchip_ReadReg(FIFO_SIZE1);
    uint32_t len2 = Arduchip_ReadReg(FIFO_SIZE2);
    uint32_t len3 = Arduchip_ReadReg(FIFO_SIZE3) & 0x7f;
    uint32_t length = ((len3 << 16) | (len2 << 8) | len1) & 0x07fffff;

    // 길이가 0이면 전송 안 함 (PC 에러 방지)
    if (length == 0) return;

    // 4. 헤더 전송
    FrameHeader hdr;
    hdr.magic  = FRAME_MAGIC;
    hdr.width  = FRAME_WIDTH;
    hdr.height = FRAME_HEIGHT;
    hdr.format = 2; // RGB565
    hdr.reserved[0] = 0; hdr.reserved[1] = 0; hdr.reserved[2] = 0;

    HAL_UART_Transmit(&huart2, (uint8_t *)&hdr, sizeof(FrameHeader), HAL_MAX_DELAY);

    // 5. 이미지 데이터 전송
    CAM_CS_LOW();
    SPI1_TxRx(BURST_FIFO_READ);

    uint8_t chunk[2048];
    uint32_t remaining = length;

    while (remaining > 0)
    {
        uint32_t to_read = (remaining > sizeof(chunk)) ? sizeof(chunk) : remaining;
        for (uint32_t i = 0; i < to_read; i++) chunk[i] = SPI1_TxRx(0x00);
        HAL_UART_Transmit(&huart2, chunk, to_read, HAL_MAX_DELAY);
        remaining -= to_read;
    }
    CAM_CS_HIGH();

    // 6. 정리
    Arduchip_WriteReg(ARDUCHIP_FIFO, FIFO_CLEAR_MASK);
}

// PC 명령 처리
void ProcessUartCommand(void)
{
    uint8_t cmd;
    if (HAL_UART_Receive(&huart2, &cmd, 1, 10) == HAL_OK)
    {
        if (cmd == UART_CMD_CAPTURE) SendOneFrameOverUart();
    }
}

// (사용 안 함, 이전 코드 호환성용)
//static void Cam_Test_CS_Toggle(void) {}

void HAL_SPI_TxRxCpltCallback(SPI_HandleTypeDef *hspi)
{
  if (hspi->Instance != SPI2) return;
  HAL_GPIO_TogglePin(GPIOC, GPIO_PIN_13); // 보드 LED 같은거
  s2_tx = 'A';
  SPI2_SlaveKick_1byte();
}

/*void HAL_SPI_TxRxCpltCallback(SPI_HandleTypeDef *hspi)
{
  if (hspi->Instance != SPI2) return;

  // Zynq가 MOSI로 start cmd를 보내면 캡처 + 스트림 준비
  if (s2_state == S2_IDLE) {
    if (s2_rx == SPI2_CMD_START) {
      SPI2_PrepareNewFrame();
    }
    s2_tx = 0xFF;           // IDLE에서는 의미없는 바이트
    SPI2_SlaveKick_1byte();
    return;
  }

  // 상태 머신: “다음에 내보낼 바이트”를 s2_tx에 넣고 다시 1바이트 IT 재개
  switch (s2_state)
  {
    case S2_SEND_STATUS:
      s2_tx = SPI2_STATUS_OK;
      s2_state = S2_SEND_HDR;
      break;

    case S2_SEND_HDR: {
      uint8_t *p = (uint8_t*)&s2_hdr;
      s2_tx = p[s2_hdr_idx++];
      if (s2_hdr_idx >= sizeof(FrameHeader)) {
        s2_state = S2_SEND_LEN;
      }
    } break;

    case S2_SEND_LEN:
      s2_tx = s2_len_bytes[s2_len_idx++];
      if (s2_len_idx >= 4) {
        s2_state = S2_SEND_IMG;
      }
      break;

    case S2_SEND_IMG:
      // chunk 소진 시 다음 chunk를 FIFO에서 채움
      if (s2_chunk_idx >= s2_chunk_valid) {
        SPI2_FillNextChunk();
        if (s2_chunk_valid == 0) {
          // 끝
          CAM_CS_HIGH();
          Arduchip_WriteReg(ARDUCHIP_FIFO, FIFO_CLEAR_MASK);
          s2_state = S2_DONE;
          s2_tx = 0xEE;
          break;
        }
      }

      s2_tx = s2_chunk[s2_chunk_idx++];
      s2_remaining--;
      if (s2_remaining == 0) {
        // 다음 콜백에서 마무리 처리되게 둠
      }
      break;

    case S2_DONE:
    default:
      // 전송 끝났으면 IDLE로 복귀
      s2_state = S2_IDLE;
      s2_tx = 0xFF;
      break;

  }

  SPI2_SlaveKick_1byte();
  return;

} */

/* USER CODE END 4 */

void Error_Handler(void)
{
  __disable_irq();
  while (1)
  {
  }
}
